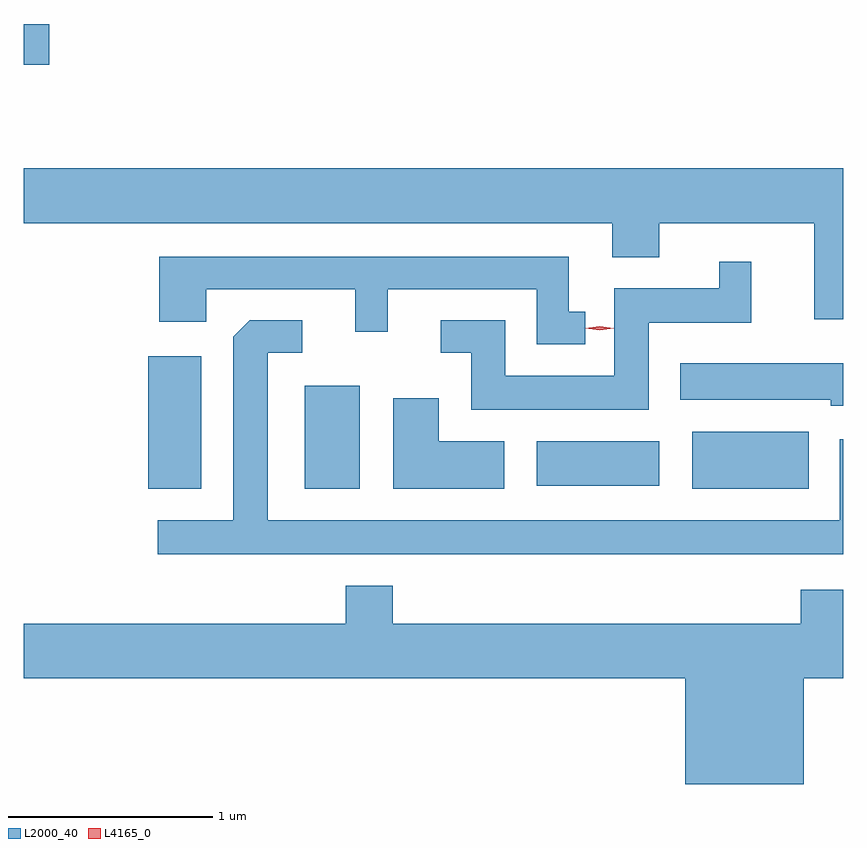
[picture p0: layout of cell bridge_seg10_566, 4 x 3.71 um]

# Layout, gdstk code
import gdstk
lib = gdstk.Library(unit=1e-6, precision=1e-09)
def R(c, l, rs):  # rectangles x0, y0, x1, y1
    for r in rs: c.add(gdstk.rectangle(r[:2], r[2:], *l))
def P(c, l, *ps):  # polygons
    for p in ps: c.add(gdstk.Polygon(p, *l))
L2000_40 = (2000, 40)
L4165_0 = (4165, 0)

bridge_seg10_566 = lib.new_cell('bridge_seg10_566')
R(bridge_seg10_566, L2000_40, [(629.666,2161.461,629.924,2162.109), (630.431,2161.461,630.699,2161.964), (632.321,2161.461,632.889,2161.739), (631.561,2161.476,632.159,2161.694), (629.058,2163.531,629.184,2163.729)])
P(bridge_seg10_566, L2000_40, [(633.058,2163.024),(629.058,2163.024),(629.058,2162.756),(631.931,2162.756),(631.931,2162.591),(632.159,2162.591),(632.159,2162.756),(632.916,2162.756),(632.916,2162.288),(633.058,2162.288)],
  [(631.798,2162.324),(631.719,2162.324),(631.719,2162.594),(629.721,2162.594),(629.721,2162.276),(629.949,2162.276),(629.949,2162.436),(630.676,2162.436),(630.676,2162.228),(630.834,2162.228),(630.834,2162.436),(631.561,2162.436),(631.561,2162.166),(631.798,2162.166)],
  [(632.109,2162.271),(632.609,2162.271),(632.609,2162.568),(632.451,2162.568),(632.451,2162.439),(631.941,2162.439),(631.941,2162.014),(631.409,2162.014),(631.409,2162.284),(631.093,2162.284),(631.093,2162.126),(631.241,2162.126),(631.241,2161.846),(632.109,2161.846)],
  [(633.058,2161.704),(633.041,2161.704),(633.041,2161.309),(630.249,2161.309),(630.249,2162.126),(630.418,2162.126),(630.418,2162.284),(630.162,2162.284),(630.081,2162.204),(630.081,2161.309),(629.713,2161.309),(629.713,2161.141),(633.058,2161.141)],
  [(633.058,2162.074),(632.261,2162.074),(632.261,2161.896),(632.996,2161.896),(632.996,2161.866),(633.058,2161.866)],
  [(631.404,2161.694),(631.084,2161.694),(631.084,2161.904),(630.861,2161.904),(630.861,2161.461),(631.404,2161.461)],
  [(632.864,2160.536),(633.058,2160.536),(633.058,2160.969),(632.851,2160.969),(632.851,2160.804),(630.859,2160.804),(630.859,2160.989),(630.631,2160.989),(630.631,2160.804),(629.058,2160.804),(629.058,2160.536),(632.286,2160.536),(632.286,2160.021),(632.864,2160.021)])
P(bridge_seg10_566, L4165_0, [(631.868,2162.235),(631.799,2162.244),(631.799,2162.245),(631.799,2162.245),(631.868,2162.255),(631.938,2162.245),(631.938,2162.245),(631.938,2162.244)])

lib.write_gds('bridge_seg10_566.gds')
